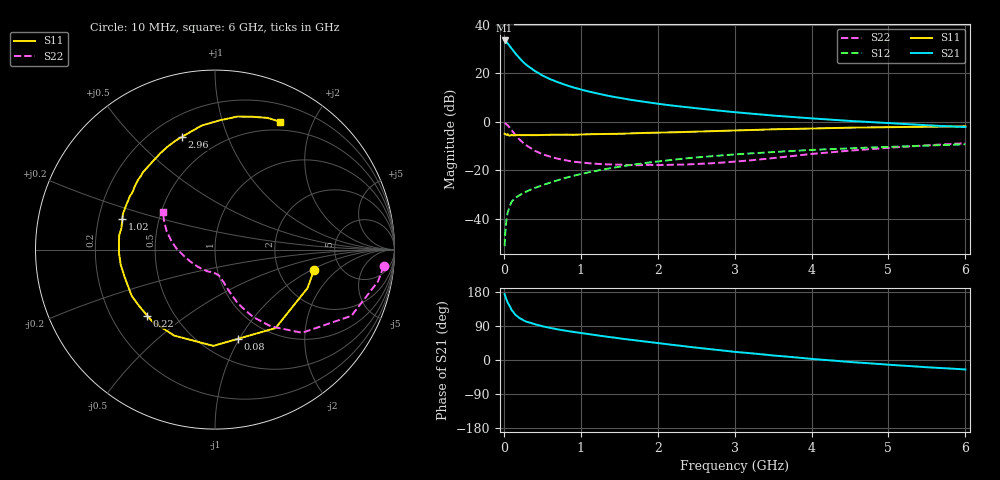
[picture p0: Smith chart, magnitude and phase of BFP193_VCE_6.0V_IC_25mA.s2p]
! Infineon Technologies  Discrete & RF Semiconductors
! BFP193
! VCE = 6.0 V,  IC =  25 mA
! Common Emitter S-Parameters:  Jan 2016
# GHz  S  MA  R  50
!  f  S11  S21  S12  S22
! GHz  MAG  ANG  MAG  ANG  MAG  ANG  MAG  ANG
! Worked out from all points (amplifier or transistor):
!   210 points, 10 MHz to 6 GHz, reference 50 ohm
!   highest |S21| = 33.5 dB at 10 MHz (marker M1)
!   |S21| within 3 dB of that: start of sweep to 93.04 MHz
!   unconditionally stable (mu >= 1): 757.1 MHz to 3.867 GHz
!   at 185 MHz: K = 0.52, MSG = 28.8 dB, |S12| = -30.7 dB
!   at 1.52 GHz: K = 1.07, MAG = 12.5 dB, |S12| = -18.5 dB
!   at 6 GHz: K = 0.93, MSG = 3.6 dB, |S12| = -9.4 dB
!   S11 on the Smith chart (normalised r, x): 10 MHz: 3.18, -1.06; 80 MHz: 0.73, -0.99; 220 MHz: 0.36, -0.36; 1.02 GHz: 0.30, +0.15; 2.96 GHz: 0.32, +0.70; 6 GHz: 0.40, +1.56
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0.01  0.5627 -11.7  47.25 173.9  0.0027 85.9  0.944 -5.6
0.02  0.5585 -22.5  45.75 166.8  0.0055 77.9  0.9257 -11.0
0.05  0.5524 -52.3  41.3 151.3  0.0133 68.3  0.8449 -25.9
0.08  0.5133 -75.4  35.51 140.8  0.0185 60.7  0.7317 -35.6
0.1  0.5365 -91.0  32.49 132.0  0.0221 57.6  0.6709 -43.7
0.15  0.5304 -115.4  25.42 119.1  0.027 53.5  0.5299 -53.9
0.2  0.5314 -131.2  20.58 111.0  0.0302 51.3  0.4343 -60.3
0.22  0.527 -135.8  19.11 108.9  0.0315 51.3  0.4058 -61.8
0.26  0.5269 -144.5  16.46 104.2  0.0341 51.4  0.3545 -64.9
0.3  0.531 -151.1  14.47 100.6  0.0366 52.1  0.318 -67.3
0.4  0.5262 -162.9  11.15 94.3  0.0427 54.1  0.252 -70.8
0.5  0.5321 -170.8  8.972 89.1  0.0486 56.1  0.2131 -73.1
0.6  0.5353 -178.0  7.547 84.7  0.0554 57.3  0.1887 -75.0
0.7  0.5364 176.1  6.511 80.7  0.0618 58.2  0.1718 -77.0
1.02  0.5434 161.9  4.514 70.5  0.0843 58.2  0.1427 -82.9
1.4  0.5597 148.2  3.303 60.0  0.1104 56.4  0.1313 -92.1
2.02  0.5932 129.8  2.319 44.2  0.1524 50.4  0.1272 -112.9
2.96  0.6544 106.5  1.591 22.5  0.2086 39.5  0.1479 -149.9
3.1  0.6629 103.7  1.518 19.8  0.2158 37.9  0.1539 -155.2
4.1  0.7265 86.2  1.139 1.4  0.2651 26.4  0.2222 175.8
5.1  0.7726 73.0  0.914 -13.8  0.3058 15.6  0.2961 157.1
6  0.7996 62.9  0.773 -25.0  0.3402 6.2  0.3587 143.9
